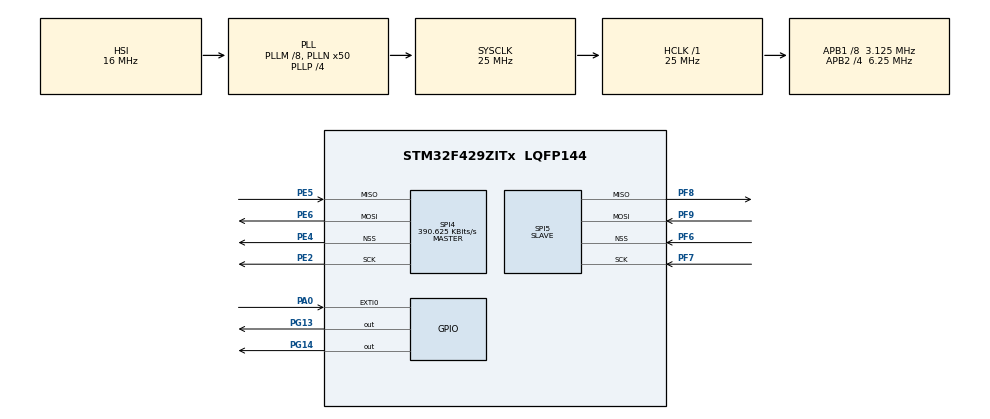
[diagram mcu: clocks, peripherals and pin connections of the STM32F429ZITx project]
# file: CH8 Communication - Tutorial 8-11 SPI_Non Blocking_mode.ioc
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Mcu.Family=STM32F4
Mcu.Name=STM32F429ZITx
Mcu.Package=LQFP144
NVIC.EXTI0_IRQn=true\:1\:0\:true\:false\:true\:true\:true\:true
NVIC.PriorityGroup=NVIC_PRIORITYGROUP_2
NVIC.SPI4_IRQn=true\:3\:0\:true\:false\:true\:true\:true\:true
NVIC.SPI5_IRQn=true\:2\:0\:true\:false\:true\:true\:true\:true
PA0/WKUP.Signal=GPXTI0
PE2.Mode=Full_Duplex_Master
PE2.Signal=SPI4_SCK
PE4.Mode=NSS_Signal_Hard_Output
PE4.Signal=SPI4_NSS
PE5.Mode=Full_Duplex_Master
PE5.Signal=SPI4_MISO
PE6.Mode=Full_Duplex_Master
PE6.Signal=SPI4_MOSI
PF6.Mode=NSS_Signal_Hard_Input
PF6.Signal=SPI5_NSS
PF7.Mode=Full_Duplex_Slave
PF7.Signal=SPI5_SCK
PF8.Mode=Full_Duplex_Slave
PF8.Signal=SPI5_MISO
PF9.Mode=Full_Duplex_Slave
PF9.Signal=SPI5_MOSI
PG13.Signal=GPIO_Output
PG14.Signal=GPIO_Output
ProjectManager.HeapSize=0x200
ProjectManager.StackSize=0x400
ProjectManager.TargetToolchain=STM32CubeIDE
RCC.48MHZClocksFreq_Value=14285714.285714285
RCC.AHBFreq_Value=25000000
RCC.APB1CLKDivider=RCC_HCLK_DIV8
RCC.APB1Freq_Value=3125000
RCC.APB1TimFreq_Value=6250000
RCC.APB2CLKDivider=RCC_HCLK_DIV4
RCC.APB2Freq_Value=6250000
RCC.APB2TimFreq_Value=12500000
RCC.CortexFreq_Value=25000000
RCC.HCLKFreq_Value=25000000
RCC.HSE_VALUE=8000000
RCC.HSI_VALUE=16000000
RCC.LSE_VALUE=32768
RCC.PLLM=8
RCC.PLLN=50
RCC.PLLP=RCC_PLLP_DIV4
RCC.PLLQ=7
RCC.SYSCLKFreq_VALUE=25000000
RCC.SYSCLKSource=RCC_SYSCLKSOURCE_PLLCLK
RCC.VCOOutputFreq_Value=100000000
SPI4.BaudRatePrescaler=SPI_BAUDRATEPRESCALER_16
SPI4.CalculateBaudRate=390.625 KBits/s
SPI4.Direction=SPI_DIRECTION_2LINES
SPI4.Mode=SPI_MODE_MASTER
SPI4.VirtualNSS=VM_NSSHARD
SPI4.VirtualType=VM_MASTER
SPI5.Direction=SPI_DIRECTION_2LINES
SPI5.Mode=SPI_MODE_SLAVE
SPI5.VirtualNSS=VM_NSSHARD
SPI5.VirtualType=VM_SLAVE
board=STM32F429I-DISC1

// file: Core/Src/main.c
/* USER CODE BEGIN Header */
/**
  ******************************************************************************
  * @file           : main.c
  * @brief          : Main program body
  ******************************************************************************
  * @attention
  *
  * Copyright (c) 2024 STMicroelectronics.
  * All rights reserved.
  *
  * This software is licensed under terms that can be found in the LICENSE file
  * in the root directory of this software component.
  * If no LICENSE file comes with this software, it is provided AS-IS.
  *
  ******************************************************************************
  */
	/***************************** Tutorial Tags ******************************
		 SPI Full duplex
		 GPIO Digital outputs
		 GPIO interrupt
	 **************************************************************************/

	/* 8.3.4 SPI Usage in the STM32F4Microcontroller: *************************
	 * Tutorial 8-10: Usage of the SPI module in non-blocking operation mode, the C code

	Make a project to send data from SPI4 to SPI5 set as master and slave respectively.
	There are two counter values in the
	code. The first one will be sent to the slave from master. Upon receiving this data
	by the slave, the green LED connected to pin PG13 of the STM32F4 board will
	toggle if mod 3 of the received counter value is equal to zero. Afterward, the second
	counter will be sent to master from slave. Upon receiving this data by the master,
	the red LED connected to pin PG14 of the STM32F4 board will toggle if mod 5 of

	Implement this project using SPI interrupts such that the LEDS are toggled in
	Callback functions for SPI. Further, use the user button to generate an interrupt
	which starts the the process of SPI transmission.

	***************************************************************************/
/* USER CODE END Header */
#include "main.h"

SPI_HandleTypeDef hspi4;
SPI_HandleTypeDef hspi5;

/* USER CODE BEGIN PV */
// Data to be sent by master and slave
uint8_t masterTxdata = 0, slaveTxdata = 0;

// Buffer for receive data by master and slave
uint8_t masterRxdata, slaveRxdata;
/* USER CODE END PV */

void SystemClock_Config(void);
static void MX_GPIO_Init(void);
static void MX_SPI4_Init(void);
static void MX_SPI5_Init(void);

int main(void)
{

  /* MCU Configuration--------------------------------------------------------*/

  /* Reset of all peripherals, Initializes the Flash interface and the Systick. */
  HAL_Init();

  /* Configure the system clock */
  SystemClock_Config();

  /* Initialize all configured peripherals */
  MX_GPIO_Init();
  MX_SPI4_Init();
  MX_SPI5_Init();

  /* Infinite loop */
  while (1)
  {

  }
}

void SystemClock_Config(void)
{
  RCC_OscInitTypeDef RCC_OscInitStruct = {0};
  RCC_ClkInitTypeDef RCC_ClkInitStruct = {0};

  /** Configure the main internal regulator output voltage
  */
  __HAL_RCC_PWR_CLK_ENABLE();
  __HAL_PWR_VOLTAGESCALING_CONFIG(PWR_REGULATOR_VOLTAGE_SCALE3);

  /** Initializes the RCC Oscillators according to the specified parameters
  * in the RCC_OscInitTypeDef structure.
  */
  RCC_OscInitStruct.OscillatorType = RCC_OSCILLATORTYPE_HSI;
  RCC_OscInitStruct.HSIState = RCC_HSI_ON;
  RCC_OscInitStruct.HSICalibrationValue = RCC_HSICALIBRATION_DEFAULT;
  RCC_OscInitStruct.PLL.PLLState = RCC_PLL_ON;
  RCC_OscInitStruct.PLL.PLLSource = RCC_PLLSOURCE_HSI;
  RCC_OscInitStruct.PLL.PLLM = 8;
  RCC_OscInitStruct.PLL.PLLN = 50;
  RCC_OscInitStruct.PLL.PLLP = RCC_PLLP_DIV4;
  RCC_OscInitStruct.PLL.PLLQ = 7;
  if (HAL_RCC_OscConfig(&RCC_OscInitStruct) != HAL_OK)
  {
    Error_Handler();
  }

  /** Initializes the CPU, AHB and APB buses clocks
  */
  RCC_ClkInitStruct.ClockType = RCC_CLOCKTYPE_HCLK|RCC_CLOCKTYPE_SYSCLK
                              |RCC_CLOCKTYPE_PCLK1|RCC_CLOCKTYPE_PCLK2;
  RCC_ClkInitStruct.SYSCLKSource = RCC_SYSCLKSOURCE_PLLCLK;
  RCC_ClkInitStruct.AHBCLKDivider = RCC_SYSCLK_DIV1;
  RCC_ClkInitStruct.APB1CLKDivider = RCC_HCLK_DIV8;
  RCC_ClkInitStruct.APB2CLKDivider = RCC_HCLK_DIV4;

  if (HAL_RCC_ClockConfig(&RCC_ClkInitStruct, FLASH_LATENCY_0) != HAL_OK)
  {
    Error_Handler();
  }
}

static void MX_SPI4_Init(void)
{

  /* SPI4 parameter configuration*/
  hspi4.Instance = SPI4;
  hspi4.Init.Mode = SPI_MODE_MASTER;
  hspi4.Init.Direction = SPI_DIRECTION_2LINES;
  hspi4.Init.DataSize = SPI_DATASIZE_8BIT;
  hspi4.Init.CLKPolarity = SPI_POLARITY_LOW;
  hspi4.Init.CLKPhase = SPI_PHASE_1EDGE;
  hspi4.Init.NSS = SPI_NSS_HARD_OUTPUT;
  hspi4.Init.BaudRatePrescaler = SPI_BAUDRATEPRESCALER_16;
  hspi4.Init.FirstBit = SPI_FIRSTBIT_MSB;
  hspi4.Init.TIMode = SPI_TIMODE_DISABLE;
  hspi4.Init.CRCCalculation = SPI_CRCCALCULATION_DISABLE;
  hspi4.Init.CRCPolynomial = 10;
  if (HAL_SPI_Init(&hspi4) != HAL_OK)
  {
    Error_Handler();
  }

}

static void MX_SPI5_Init(void)
{

  /* SPI5 parameter configuration*/
  hspi5.Instance = SPI5;
  hspi5.Init.Mode = SPI_MODE_SLAVE;
  hspi5.Init.Direction = SPI_DIRECTION_2LINES;
  hspi5.Init.DataSize = SPI_DATASIZE_8BIT;
  hspi5.Init.CLKPolarity = SPI_POLARITY_LOW;
  hspi5.Init.CLKPhase = SPI_PHASE_1EDGE;
  hspi5.Init.NSS = SPI_NSS_HARD_INPUT;
  hspi5.Init.FirstBit = SPI_FIRSTBIT_MSB;
  hspi5.Init.TIMode = SPI_TIMODE_DISABLE;
  hspi5.Init.CRCCalculation = SPI_CRCCALCULATION_DISABLE;
  hspi5.Init.CRCPolynomial = 10;
  if (HAL_SPI_Init(&hspi5) != HAL_OK)
  {
    Error_Handler();
  }

}

static void MX_GPIO_Init(void)
{
  GPIO_InitTypeDef GPIO_InitStruct = {0};

  /* GPIO Ports Clock Enable */
  __HAL_RCC_GPIOE_CLK_ENABLE();
  __HAL_RCC_GPIOF_CLK_ENABLE();
  __HAL_RCC_GPIOA_CLK_ENABLE();
  __HAL_RCC_GPIOG_CLK_ENABLE();

  /*Configure GPIO pin Output Level */
  HAL_GPIO_WritePin(GPIOG, GPIO_PIN_13|GPIO_PIN_14, GPIO_PIN_RESET);

  /*Configure GPIO pin : PA0 */
  GPIO_InitStruct.Pin = GPIO_PIN_0;
  GPIO_InitStruct.Mode = GPIO_MODE_IT_RISING;
  GPIO_InitStruct.Pull = GPIO_NOPULL;
  HAL_GPIO_Init(GPIOA, &GPIO_InitStruct);

  /*Configure GPIO pins : PG13 PG14 */
  GPIO_InitStruct.Pin = GPIO_PIN_13|GPIO_PIN_14;
  GPIO_InitStruct.Mode = GPIO_MODE_OUTPUT_PP;
  GPIO_InitStruct.Pull = GPIO_NOPULL;
  GPIO_InitStruct.Speed = GPIO_SPEED_FREQ_LOW;
  HAL_GPIO_Init(GPIOG, &GPIO_InitStruct);

  /* EXTI interrupt init*/
  HAL_NVIC_SetPriority(EXTI0_IRQn, 1, 0);
  HAL_NVIC_EnableIRQ(EXTI0_IRQn);

}

/* USER CODE BEGIN 4 */

void HAL_GPIO_EXTI_Callback(uint16_t GPIO_Pin)
{
	if(GPIO_Pin == GPIO_PIN_0){
		masterTxdata++;
		slaveTxdata++;

		HAL_SPI_TransmitReceive_IT(&hspi4, &masterTxdata, &masterRxdata, 1);
		HAL_SPI_TransmitReceive_IT(&hspi5, &slaveTxdata, &slaveRxdata, 1);
	}
}

void HAL_SPI_TxRxCpltCallback(SPI_HandleTypeDef *hspi){
	if(hspi-> Instance ==SPI4){
		if(masterRxdata %5 ==0)
			HAL_GPIO_TogglePin(GPIOG, GPIO_PIN_14);

	}
	else if(hspi-> Instance ==SPI5){
		if(slaveRxdata %3 ==0)
			HAL_GPIO_TogglePin(GPIOG, GPIO_PIN_13);
	}
}

/* USER CODE END 4 */

void Error_Handler(void)
{
  __disable_irq();
  while (1)
  {
  }
}
